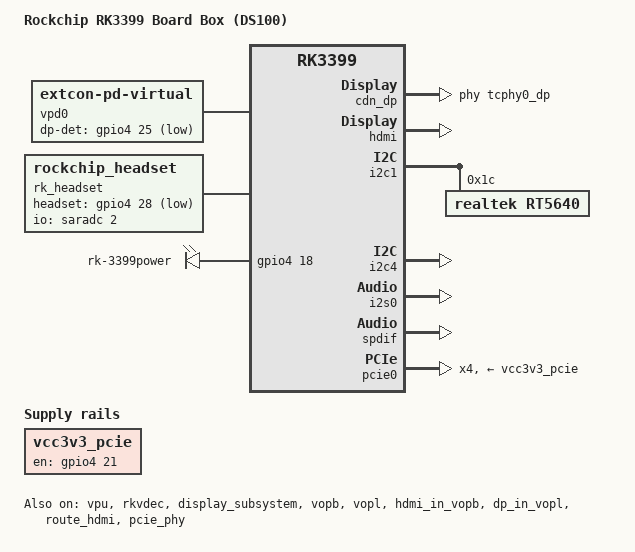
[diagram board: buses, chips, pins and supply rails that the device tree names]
/*
 * Copyright (c) 2016 Fuzhou Rockchip Electronics Co., Ltd
 *
 * This file is dual-licensed: you can use it either under the terms
 * of the GPL or the X11 license, at your option. Note that this dual
 * licensing only applies to this file, and not this project as a
 * whole.
 *
 *  a) This file is free software; you can redistribute it and/or
 *     modify it under the terms of the GNU General Public License as
 *     published by the Free Software Foundation; either version 2 of the
 *     License, or (at your option) any later version.
 *
 *     This file is distributed in the hope that it will be useful,
 *     but WITHOUT ANY WARRANTY; without even the implied warranty of
 *     MERCHANTABILITY or FITNESS FOR A PARTICULAR PURPOSE.  See the
 *     GNU General Public License for more details.
 *
 * Or, alternatively,
 *
 *  b) Permission is hereby granted, free of charge, to any person
 *     obtaining a copy of this software and associated documentation
 *     files (the "Software"), to deal in the Software without
 *     restriction, including without limitation the rights to use,
 *     copy, modify, merge, publish, distribute, sublicense, and/or
 *     sell copies of the Software, and to permit persons to whom the
 *     Software is furnished to do so, subject to the following
 *     conditions:
 *
 *     The above copyright notice and this permission notice shall be
 *     included in all copies or substantial portions of the Software.
 *
 *     THE SOFTWARE IS PROVIDED "AS IS", WITHOUT WARRANTY OF ANY KIND,
 *     EXPRESS OR IMPLIED, INCLUDING BUT NOT LIMITED TO THE WARRANTIES
 *     OF MERCHANTABILITY, FITNESS FOR A PARTICULAR PURPOSE AND
 *     NONINFRINGEMENT. IN NO EVENT SHALL THE AUTHORS OR COPYRIGHT
 *     HOLDERS BE LIABLE FOR ANY CLAIM, DAMAGES OR OTHER LIABILITY,
 *     WHETHER IN AN ACTION OF CONTRACT, TORT OR OTHERWISE, ARISING
 *     FROM, OUT OF OR IN CONNECTION WITH THE SOFTWARE OR THE USE OR
 *     OTHER DEALINGS IN THE SOFTWARE.
 */

/dts-v1/;
#include "rk3399-box-ds100.dtsi"

/ {
	model = "Rockchip RK3399 Board Box (DS100)";
	compatible = "rockchip-ds100","rockchip,rk3399-box";

	fiq_debugger: fiq-debugger {
		compatible = "rockchip,fiq-debugger";
		rockchip,serial-id = <2>;
		rockchip,wake-irq = <0>;
		rockchip,irq-mode-enable = <0>;  /* If enable uart uses irq instead of fiq */
		rockchip,baudrate = <115200>;  /* Only 115200 and 1500000 */
		pinctrl-names = "default";
		pinctrl-0 = <&uart2c_xfer>;
		interrupts = <GIC_SPI 150 IRQ_TYPE_LEVEL_HIGH 0>;
	};

	vpd0: virtual-pd0 {
		compatible = "linux,extcon-pd-virtual";
		dp-det-gpios = <&gpio4 25 GPIO_ACTIVE_LOW>;
		//hdmi-5v-gpios = <&gpio4 28 GPIO_ACTIVE_LOW>;
		/* 0: positive, 1: negative*/
		vpd,init-flip = <0>;
		/* 0: u2, 1: u3*/
		vpd,init-ss = <0>;
		/* 0: dfp, 1: ufp, 2: dp 3: dp/ufp */
		vpd,init-mode = <3>;
	};

	rt5640-sound {
                compatible = "simple-audio-card";
                simple-audio-card,format = "i2s";
                simple-audio-card,name = "rockchip,rt5640-codec";
                simple-audio-card,mclk-fs = <256>;
                simple-audio-card,widgets =
                        "Microphone", "Mic Jack",
                        "Headphone", "Headphone Jack";
                simple-audio-card,routing =
                        "Mic Jack", "MICBIAS1",
                        "IN1P", "Mic Jack",
                        "Headphone Jack", "HPOL",
                        "Headphone Jack", "HPOR";
                simple-audio-card,cpu {
                        sound-dai = <&i2s0>;
                };
                simple-audio-card,codec {
                        sound-dai = <&rt5640>;
                };
        };

	hdmi-sound {
                status = "okay";
                compatible = "simple-audio-card";
                simple-audio-card,format = "i2s";
                simple-audio-card,mclk-fs = <256>;
                simple-audio-card,name = "ROCKCHIP,HDMI";
                simple-audio-card,cpu {
                        sound-dai = <&i2s2>;
                };
                simple-audio-card,codec {
                        sound-dai = <&hdmi>;
                };
        };

        dp-sound {
                status = "okay";
                compatible = "simple-audio-card";
                simple-audio-card,name = "ROCKCHIP,DP";
                simple-audio-card,cpu {
                        sound-dai = <&spdif>;
                };
                simple-audio-card,codec {
                        sound-dai = <&cdn_dp 1>;
                };
        };

	rk_headset {
                compatible = "rockchip_headset";
                headset_gpio = <&gpio4 28 GPIO_ACTIVE_LOW>;
                pinctrl-names = "default";
                pinctrl-0 = <&hp_det>;
                io-channels = <&saradc 2>;
        };
	leds {
              compatible = "gpio-leds";
              power_led: power {
              label = "rk-3399power";
              /*linux,default-trigger = "ir-power-click";*/
              default-state = "on";
              gpios = <&gpio4 18 GPIO_ACTIVE_HIGH>;
              pinctrl-names = "default";
              pinctrl-0 = <&led_power>;
             };
		};
        vcc3v3_pcie: vcc3v3-pcie-regulator {
                compatible = "regulator-fixed";
                enable-active-high;
                regulator-always-on;
                regulator-boot-on;
                gpio = <&gpio4 21 GPIO_ACTIVE_HIGH>;
                pinctrl-names = "default";
                pinctrl-0 = <&pcie_drv>;
                regulator-name = "vcc3v3_pcie";
		};
};


&vpu {
	status = "okay";
	/* 0 means ion, 1 means drm */
	//allocator = <0>;
};

&rkvdec {
	status = "okay";
	/* 0 means ion, 1 means drm */
	//allocator = <0>;
};


&cdn_dp {
	status = "okay";
	extcon = <&vpd0>;
	phys = <&tcphy0_dp>;
};

&display_subsystem {
	status = "okay";
};

&hdmi {
	/* remove the hdmi_cec, reused by edp_hpd */
	pinctrl-0 = <&hdmi_i2c_xfer>;
	#address-cells = <1>;
	#size-cells = <0>;
	#sound-dai-cells = <0>;
	status = "okay";
};

&i2c1 {
        status = "okay";
        i2c-scl-rising-time-ns = <460>;
        i2c-scl-falling-time-ns = <15>;

        rt5640: rt5640@1c {
                #sound-dai-cells = <0>;
                compatible = "realtek,rt5640";
                reg = <0x1c>;
                clocks = <&cru SCLK_I2S_8CH_OUT>;
                clock-names = "mclk";
		pinctrl-names = "default";
		pinctrl-0 = <&i2s_8ch_mclk>;
                realtek,in1-differential;
        };
};

&i2c4 {
	status = "okay";
	fusb0: fusb30x@22 {
		compatible = "fairchild,fusb302";
		reg = <0x22>;
		pinctrl-names = "default";
		pinctrl-0 = <&fusb0_int>;
		vbus-5v-gpios = <&gpio1 3 GPIO_ACTIVE_LOW>;
		int-n-gpios = <&gpio1 2 GPIO_ACTIVE_HIGH>;
		status = "disabled";
	};
};

&i2s0 {
        #sound-dai-cells = <0>;
        status = "okay";
};

&spdif {
        status = "okay";
};

&vopb {
	status = "okay";
};

&vopb_mmu {
	status = "okay";
};

&vopl {
	status = "okay";
};

&vopl_mmu {
	status = "okay";
};

&hdmi_in_vopb {
	status = "okay";
};

&hdmi_in_vopl {
	status = "disabled";
};

&dp_in_vopb {
	status = "disabled";
};

&dp_in_vopl {
	status = "okay";
};

&route_hdmi {
	connect = <&vopb_out_hdmi>;
	status = "okay";
};

&pcie_phy {
        status = "okay";
};

&pcie0 {
		ep-gpios = <&gpio2 28 GPIO_ACTIVE_HIGH>;
        num-lanes = <4>;
        pinctrl-names = "default";
		pinctrl-0 = <&pcie_clkreqn>;
		vpcie3v3-supply = <&vcc3v3_pcie>;
        status = "okay";
};

&pinctrl {
	pinctrl-names = "default";
	pinctrl-0 = <&cpt_gpio>;

	sdio0 {
		sdio0_bus1: sdio0-bus1 {
			rockchip,pins =
				<2 20 RK_FUNC_1 &pcfg_pull_up_20ma>;
		};

		sdio0_bus4: sdio0-bus4 {
			rockchip,pins =
				<2 20 RK_FUNC_1 &pcfg_pull_up_20ma>,
				<2 21 RK_FUNC_1 &pcfg_pull_up_20ma>,
				<2 22 RK_FUNC_1 &pcfg_pull_up_20ma>,
				<2 23 RK_FUNC_1 &pcfg_pull_up_20ma>;
		};

		sdio0_cmd: sdio0-cmd {
			rockchip,pins =
				<2 24 RK_FUNC_1 &pcfg_pull_up_20ma>;
		};

		sdio0_clk: sdio0-clk {
			rockchip,pins =
				<2 25 RK_FUNC_1 &pcfg_pull_none_20ma>;
		};
	};

	sdmmc {
		sdmmc_bus1: sdmmc-bus1 {
			rockchip,pins =
				<4 8 RK_FUNC_1 &pcfg_pull_up_8ma>;
		};

		sdmmc_bus4: sdmmc-bus4 {
			rockchip,pins =
				<4 8 RK_FUNC_1 &pcfg_pull_up_8ma>,
				<4 9 RK_FUNC_1 &pcfg_pull_up_8ma>,
				<4 10 RK_FUNC_1 &pcfg_pull_up_8ma>,
				<4 11 RK_FUNC_1 &pcfg_pull_up_8ma>;
		};

		sdmmc_clk: sdmmc-clk {
			rockchip,pins =
				<4 12 RK_FUNC_1 &pcfg_pull_none_18ma>;
		};

		sdmmc_cmd: sdmmc-cmd {
			rockchip,pins =
				<4 13 RK_FUNC_1 &pcfg_pull_up_8ma>;
		};
	};

	fusb30x {
		fusb0_int: fusb0-int {
			rockchip,pins =
				<1 2 RK_FUNC_GPIO &pcfg_pull_up>;
		};
	};

	compat {
		cpt_gpio: cpt-gpio {
			rockchip,pins =
				<1 18 RK_FUNC_GPIO &pcfg_output_low>;
		};
	};

	headphone {
                hp_det: hp-det {
                        rockchip,pins = <4 28 RK_FUNC_GPIO &pcfg_pull_up>;
                };
        };

     leds {
        led_power: led-power {
            rockchip,pins = <4 18 RK_FUNC_GPIO &pcfg_pull_none>;
         };
       };

     pcie {
        pcie_drv: pcie-drv {
                        rockchip,pins =
                                <4 21 RK_FUNC_GPIO &pcfg_pull_none>;
                        };

        pinctrl_pcie1: pinctrl-pcie1 {
                      rockchip,pins =
                                <2 28 RK_FUNC_GPIO &pcfg_pull_up>;
                };
        };
};
